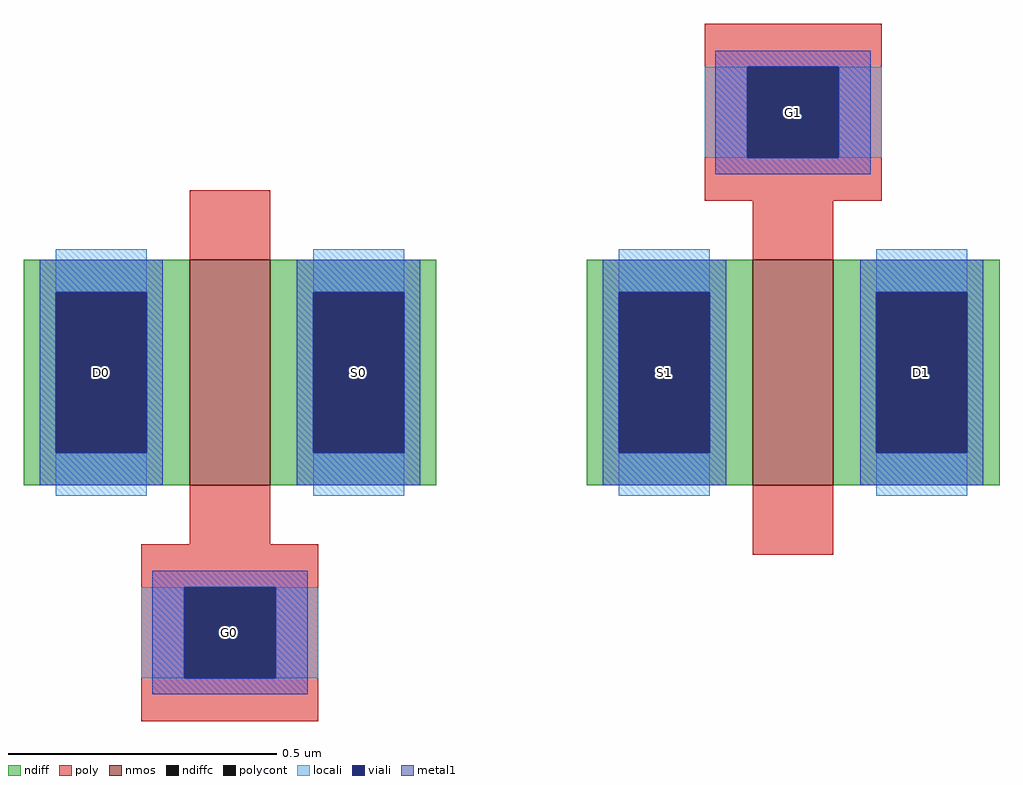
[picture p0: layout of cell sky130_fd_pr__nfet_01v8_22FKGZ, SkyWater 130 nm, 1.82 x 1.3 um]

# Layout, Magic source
magic
tech sky130A
magscale 1 2
<< nmos >>
rect -120 -42 -90 42
rect 90 -42 120 42
<< ndiff >>
rect -182 30 -120 42
rect -182 -30 -170 30
rect -136 -30 -120 30
rect -182 -42 -120 -30
rect -90 30 -28 42
rect -90 -30 -74 30
rect -40 -30 -28 30
rect -90 -42 -28 -30
rect 28 30 90 42
rect 28 -30 40 30
rect 74 -30 90 30
rect 28 -42 90 -30
rect 120 30 182 42
rect 120 -30 136 30
rect 170 -30 182 30
rect 120 -42 182 -30
<< ndiffc >>
rect -170 -30 -136 30
rect -74 -30 -40 30
rect 40 -30 74 30
rect 136 -30 170 30
<< poly >>
rect 72 114 138 130
rect 72 80 88 114
rect 122 80 138 114
rect -120 42 -90 68
rect 72 64 138 80
rect 90 42 120 64
rect -120 -64 -90 -42
rect -138 -80 -72 -64
rect 90 -68 120 -42
rect -138 -114 -122 -80
rect -88 -114 -72 -80
rect -138 -130 -72 -114
<< polycont >>
rect 88 80 122 114
rect -122 -114 -88 -80
<< locali >>
rect 72 80 88 114
rect 122 80 138 114
rect -170 30 -136 46
rect -170 -46 -136 -30
rect -74 30 -40 46
rect -74 -46 -40 -30
rect 40 30 74 46
rect 40 -46 74 -30
rect 136 30 170 46
rect 136 -46 170 -30
rect -138 -114 -122 -80
rect -88 -114 -72 -80
<< viali >>
rect 88 80 122 114
rect -170 -30 -136 30
rect -74 -30 -40 30
rect 40 -30 74 30
rect 136 -30 170 30
rect -122 -114 -88 -80
<< metal1 >>
rect 76 114 134 120
rect 76 80 88 114
rect 122 80 134 114
rect 76 74 134 80
rect -176 30 -130 42
rect -176 -30 -170 30
rect -136 -30 -130 30
rect -176 -42 -130 -30
rect -80 30 -34 42
rect -80 -30 -74 30
rect -40 -30 -34 30
rect -80 -42 -34 -30
rect 34 30 80 42
rect 34 -30 40 30
rect 74 -30 80 30
rect 34 -42 80 -30
rect 130 30 176 42
rect 130 -30 136 30
rect 170 -30 176 30
rect 130 -42 176 -30
rect -134 -80 -76 -74
rect -134 -114 -122 -80
rect -88 -114 -76 -80
rect -134 -120 -76 -114
<< labels >>
rlabel ndiffc -153 0 -153 0 0 D0
port 1 nsew
rlabel ndiffc -57 0 -57 0 0 S0
port 2 nsew
rlabel polycont -105 -97 -105 -97 0 G0
port 3 nsew
rlabel ndiffc 153 0 153 0 0 D1
port 4 nsew
rlabel ndiffc 57 0 57 0 0 S1
port 5 nsew
rlabel polycont 105 97 105 97 0 G1
port 6 nsew
<< properties >>
string gencell sky130_fd_pr__nfet_01v8
string library sky130
string parameters w 0.420 l 0.150 m 1 nf 2 diffcov 100 polycov 100 guard 0 glc 1 grc 1 gtc 1 gbc 1 tbcov 100 rlcov 100 topc 1 botc 1 poverlap 0 doverlap 0 lmin 0.15 wmin 0.42 class mosfet compatible {sky130_fd_pr__nfet_01v8 sky130_fd_pr__nfet_01v8_lvt  sky130_fd_bs_flash__special_sonosfet_star  sky130_fd_pr__nfet_g5v0d10v5 sky130_fd_pr__nfet_05v0_nvt  sky130_fd_pr__nfet_03v3_nvt} full_metal 1 conn_gates 0 viasrc 100 viadrn 100 viagate 100 viagb 0 viagr 0 viagl 0 viagt 0 doports 1
<< end >>
